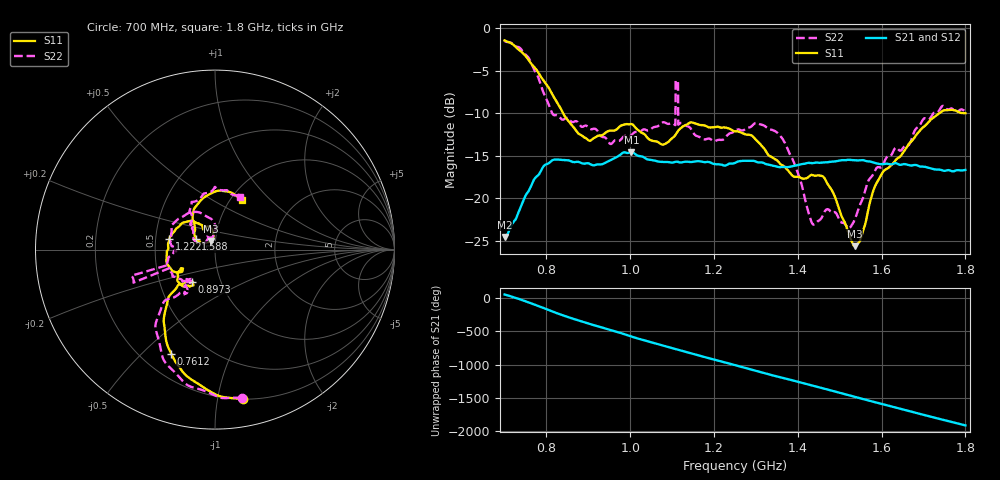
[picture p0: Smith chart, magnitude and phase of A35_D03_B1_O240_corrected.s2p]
! Created with skrf 1.9.0 (http://scikit-rf.org).
# Hz S RI R 50.0
!freq ReS11 ImS11 ReS21 ImS21 ReS12 ImS12 ReS22 ImS22
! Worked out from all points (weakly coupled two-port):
!   1601 points, 700 MHz to 1.8 GHz, reference 50 ohm
!   highest |S21| = -14.59 dB at 1.002 GHz (marker M1); lowest = -24.6 dB at 700.7 MHz (marker M2)
!   lowest |S11| = -25.7 dB at 1.536 GHz (marker M3), VSWR 1.11, Z = 47.7 + j4.57 ohm
!   |S11| at or under -10 dB: 839.5 MHz to 1.738 GHz (898.1 MHz wide, 69.7 % of centre); 1.799187 GHz to 1.799589 GHz (401.2 kHz wide, 0.0223 % of centre)
!   |S22| runs from -23.6 to -1.5 dB; largest |S21 - S12| = 0.0035
!   S11 on the Smith chart (normalised r, x): 700 MHz: 0.20, -1.19; 761.2 MHz: 0.32, -0.62; 897.3 MHz: 0.73, -0.27; 1.222 GHz: 0.59, +0.07; 1.588 GHz: 0.80, +0.10; 1.8 GHz: 1.13, +0.70
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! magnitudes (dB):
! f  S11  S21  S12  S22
! 700 MHz  -1.4  -24.5  -24.3  -1.5
! 700.7 MHz  -1.4  -24.6  -24.3  -1.5
! 761.2 MHz  -4.0  -18.8  -18.7  -3.8
! 814.8 MHz  -7.9  -15.5  -15.6  -10.1
! 883.6 MHz  -12.6  -15.9  -15.8  -11.6
! 897.3 MHz  -13.1  -15.9  -16.0  -11.5
! 953 MHz  -12.0  -15.5  -15.5  -13.6
! 1.002 GHz  -11.3  -14.6  -14.7  -12.6
! 1.067 GHz  -13.4  -15.7  -15.6  -11.5
! 1.102 GHz  -12.9  -15.8  -15.7  -11.2
! 1.114 GHz  -12.1  -15.7  -15.8  -6.2
! 1.12 GHz  -11.8  -15.8  -15.7  -11.2
! 1.222 GHz  -11.7  -16.1  -16.2  -13.1
! 1.25 GHz  -12.1  -15.9  -15.8  -12.1
! 1.357 GHz  -15.9  -16.4  -16.3  -12.6
! 1.434 GHz  -17.3  -15.9  -15.8  -22.9
! 1.479 GHz  -18.9  -15.7  -15.7  -21.6
! 1.536 GHz  -25.7  -15.5  -15.5  -22.5
! 1.588 GHz  -18.3  -15.9  -15.9  -16.5
! 1.617 GHz  -16.4  -16.0  -16.0  -15.1
! 1.74 GHz  -9.9  -16.7  -16.7  -9.5
! 1.8 GHz  -10.0  -16.7  -16.7  -9.8
